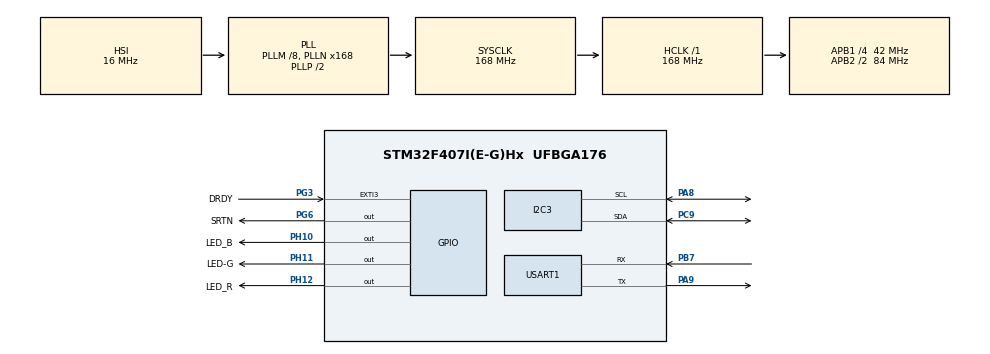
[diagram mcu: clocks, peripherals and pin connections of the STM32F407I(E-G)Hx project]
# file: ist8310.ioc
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Dma.Request0=USART1_TX
Dma.USART1_TX.0.Direction=DMA_MEMORY_TO_PERIPH
Dma.USART1_TX.0.FIFOMode=DMA_FIFOMODE_DISABLE
Dma.USART1_TX.0.Instance=DMA2_Stream7
Dma.USART1_TX.0.MemDataAlignment=DMA_MDATAALIGN_BYTE
Dma.USART1_TX.0.MemInc=DMA_MINC_ENABLE
Dma.USART1_TX.0.Mode=DMA_NORMAL
Dma.USART1_TX.0.PeriphDataAlignment=DMA_PDATAALIGN_BYTE
Dma.USART1_TX.0.PeriphInc=DMA_PINC_DISABLE
Dma.USART1_TX.0.Priority=DMA_PRIORITY_VERY_HIGH
I2C3.I2C_Mode=I2C_Fast
Mcu.Family=STM32F4
Mcu.Name=STM32F407I(E-G)Hx
Mcu.Package=UFBGA176
NVIC.DMA2_Stream7_IRQn=true\:0\:0\:false\:false\:true\:false\:true\:true
NVIC.EXTI3_IRQn=true\:0\:0\:false\:false\:true\:true\:true\:true
NVIC.PriorityGroup=NVIC_PRIORITYGROUP_4
NVIC.USART1_IRQn=true\:0\:0\:false\:false\:true\:true\:true\:true
PA13.Mode=Serial_Wire
PA13.Signal=SYS_JTMS-SWDIO
PA14.Mode=Serial_Wire
PA14.Signal=SYS_JTCK-SWCLK
PA8.Mode=I2C
PA8.Signal=I2C3_SCL
PA9.Mode=Asynchronous
PA9.Signal=USART1_TX
PB7.Mode=Asynchronous
PB7.Signal=USART1_RX
PC9.Mode=I2C
PC9.Signal=I2C3_SDA
PG3.GPIO_Label=DRDY
PG3.Signal=GPXTI3
PG6.GPIO_Label=SRTN
PG6.Signal=GPIO_Output
PH0-OSC_IN.Mode=HSE-External-Oscillator
PH0-OSC_IN.Signal=RCC_OSC_IN
PH1-OSC_OUT.Mode=HSE-External-Oscillator
PH1-OSC_OUT.Signal=RCC_OSC_OUT
PH10.GPIO_Label=LED_B
PH10.Signal=GPIO_Output
PH11.GPIO_Label=LED-G
PH11.Signal=GPIO_Output
PH12.GPIO_Label=LED_R
PH12.Signal=GPIO_Output
ProjectManager.HeapSize=0x200
ProjectManager.StackSize=0x400
ProjectManager.TargetToolchain=Makefile
RCC.48MHZClocksFreq_Value=84000000
RCC.AHBFreq_Value=168000000
RCC.APB1CLKDivider=RCC_HCLK_DIV4
RCC.APB1Freq_Value=42000000
RCC.APB1TimFreq_Value=84000000
RCC.APB2CLKDivider=RCC_HCLK_DIV2
RCC.APB2Freq_Value=84000000
RCC.APB2TimFreq_Value=168000000
RCC.CortexFreq_Value=168000000
RCC.HCLKFreq_Value=168000000
RCC.HSE_VALUE=12000000
RCC.HSI_VALUE=16000000
RCC.LSE_VALUE=32768
RCC.PLLM=8
RCC.PLLN=168
RCC.SYSCLKFreq_VALUE=168000000
RCC.SYSCLKSource=RCC_SYSCLKSOURCE_PLLCLK
RCC.VCOOutputFreq_Value=336000000
USART1.VirtualMode=VM_ASYNC
board=custom

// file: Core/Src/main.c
/* USER CODE BEGIN Header */
/**
  ******************************************************************************
  * @file           : main.c
  * @brief          : Main program body
  ******************************************************************************
  * @attention
  *
  * Copyright (c) 2024 STMicroelectronics.
  * All rights reserved.
  *
  * This software is licensed under terms that can be found in the LICENSE file
  * in the root directory of this software component.
  * If no LICENSE file comes with this software, it is provided AS-IS.
  *
  ******************************************************************************
  */
/* USER CODE END Header */
#include "main.h"
#include "dma.h"
#include "i2c.h"
#include "usart.h"
#include "gpio.h"

/* USER CODE BEGIN Includes */
#include "ist8310driver.h"
/* USER CODE END Includes */

/* USER CODE BEGIN PV */
float ist8310_mag[3];
/* USER CODE END PV */

void SystemClock_Config(void);

/* USER CODE BEGIN 0 */
void usart_printf(const char *fmt,...)
{
  static uint8_t tx_buf[256] = {0};
  static va_list ap;
  static uint16_t len;
  va_start(ap, fmt);

  //return length of string
  //返回字符串长度
  len = vsprintf((char *)tx_buf, fmt, ap);

  va_end(ap);

  HAL_UART_Transmit_DMA(&huart1,tx_buf, len);

}
/* USER CODE END 0 */

int main(void)
{

  /* MCU Configuration--------------------------------------------------------*/

  /* Reset of all peripherals, Initializes the Flash interface and the Systick. */
  HAL_Init();

  /* Configure the system clock */
  SystemClock_Config();

  /* Initialize all configured peripherals */
  MX_GPIO_Init();
  MX_DMA_Init();
  MX_I2C3_Init();
  MX_USART1_UART_Init();
  /* USER CODE BEGIN 2 */
  __HAL_UART_ENABLE_IT(&huart1, UART_IT_RXNE);  //receive interrupt
  __HAL_UART_ENABLE_IT(&huart1, UART_IT_IDLE);  //idle interrupt
  ist8310_init();
  /* USER CODE END 2 */

  /* Infinite loop */
  /* USER CODE BEGIN WHILE */
  while (1)
  {
    HAL_GPIO_WritePin(LED_R_GPIO_Port, LED_R_Pin, GPIO_PIN_SET);
    HAL_GPIO_WritePin(LED_G_GPIO_Port, LED_G_Pin, GPIO_PIN_SET);
    HAL_GPIO_WritePin(LED_B_GPIO_Port, LED_B_Pin, GPIO_PIN_SET);
    HAL_Delay(500);
    HAL_GPIO_WritePin(LED_R_GPIO_Port, LED_R_Pin, GPIO_PIN_RESET);
    HAL_GPIO_WritePin(LED_G_GPIO_Port, LED_G_Pin, GPIO_PIN_RESET);
    HAL_GPIO_WritePin(LED_B_GPIO_Port, LED_B_Pin, GPIO_PIN_RESET);
    HAL_Delay(500);
    /* USER CODE END WHILE */

    /* USER CODE BEGIN 3 */
    usart_printf("X:%d,y:%d,z:%d\r\n",(int)(ist8310_mag[0]*100),(int)(ist8310_mag[1]*100),(int)(ist8310_mag[2]*100));
  }
  /* USER CODE END 3 */
}

void SystemClock_Config(void)
{
  RCC_OscInitTypeDef RCC_OscInitStruct = {0};
  RCC_ClkInitTypeDef RCC_ClkInitStruct = {0};

  /** Configure the main internal regulator output voltage
  */
  __HAL_RCC_PWR_CLK_ENABLE();
  __HAL_PWR_VOLTAGESCALING_CONFIG(PWR_REGULATOR_VOLTAGE_SCALE1);

  /** Initializes the RCC Oscillators according to the specified parameters
  * in the RCC_OscInitTypeDef structure.
  */
  RCC_OscInitStruct.OscillatorType = RCC_OSCILLATORTYPE_HSI;
  RCC_OscInitStruct.HSIState = RCC_HSI_ON;
  RCC_OscInitStruct.HSICalibrationValue = RCC_HSICALIBRATION_DEFAULT;
  RCC_OscInitStruct.PLL.PLLState = RCC_PLL_ON;
  RCC_OscInitStruct.PLL.PLLSource = RCC_PLLSOURCE_HSI;
  RCC_OscInitStruct.PLL.PLLM = 8;
  RCC_OscInitStruct.PLL.PLLN = 168;
  RCC_OscInitStruct.PLL.PLLP = RCC_PLLP_DIV2;
  RCC_OscInitStruct.PLL.PLLQ = 4;
  if (HAL_RCC_OscConfig(&RCC_OscInitStruct) != HAL_OK)
  {
    Error_Handler();
  }

  /** Initializes the CPU, AHB and APB buses clocks
  */
  RCC_ClkInitStruct.ClockType = RCC_CLOCKTYPE_HCLK|RCC_CLOCKTYPE_SYSCLK
                              |RCC_CLOCKTYPE_PCLK1|RCC_CLOCKTYPE_PCLK2;
  RCC_ClkInitStruct.SYSCLKSource = RCC_SYSCLKSOURCE_PLLCLK;
  RCC_ClkInitStruct.AHBCLKDivider = RCC_SYSCLK_DIV1;
  RCC_ClkInitStruct.APB1CLKDivider = RCC_HCLK_DIV4;
  RCC_ClkInitStruct.APB2CLKDivider = RCC_HCLK_DIV2;

  if (HAL_RCC_ClockConfig(&RCC_ClkInitStruct, FLASH_LATENCY_5) != HAL_OK)
  {
    Error_Handler();
  }
}

void Error_Handler(void)
{
  __disable_irq();
  while (1)
  {
  }
}
